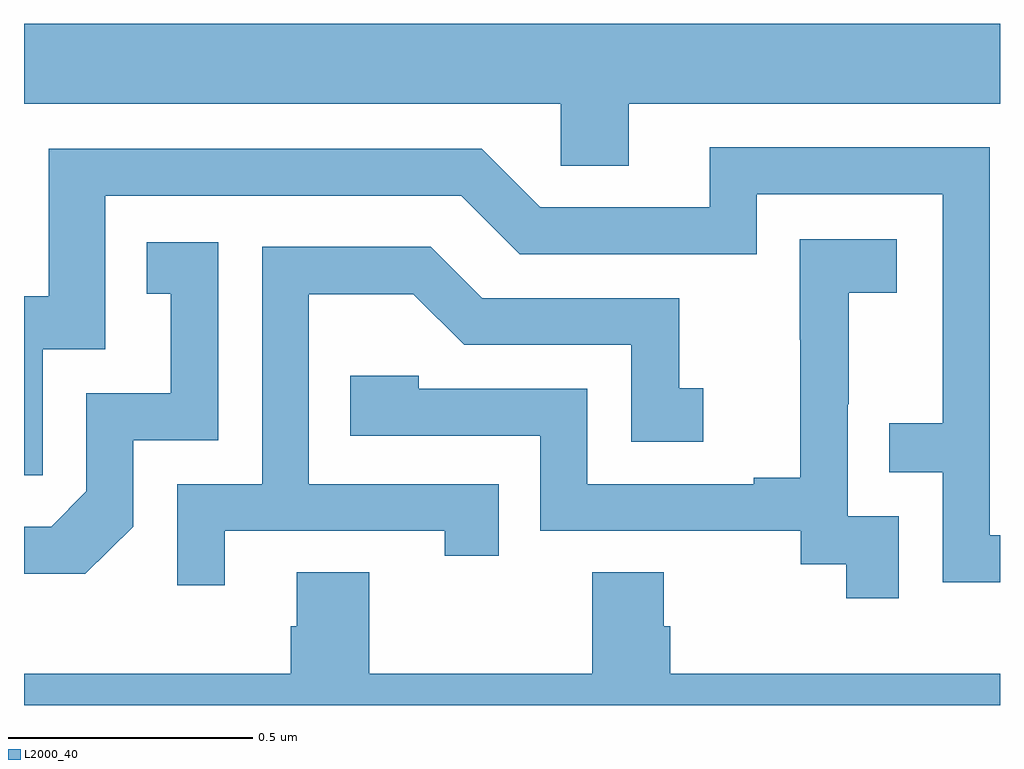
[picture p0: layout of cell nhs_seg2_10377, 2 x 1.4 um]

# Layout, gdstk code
import gdstk
lib = gdstk.Library(unit=1e-6, precision=1e-09)
def P(c, l, *ps):  # polygons
    for p in ps: c.add(gdstk.Polygon(p, *l))
L2000_40 = (2000, 40)

nhs_seg2_10377 = lib.new_cell('nhs_seg2_10377')
P(nhs_seg2_10377, L2000_40, [(242.239,585.032),(243,585.032),(243,585.196),(241,585.196),(241,585.032),(242.1,585.032),(242.1,584.905),(242.239,584.905)],
  [(243,584.148),(242.979,584.148),(242.979,584.943),(242.405,584.943),(242.405,584.82),(242.058,584.82),(241.938,584.94),(241.051,584.94),(241.051,584.638),(241,584.638),(241,584.271),(241.038,584.271),(241.038,584.529),(241.167,584.529),(241.167,584.844),(241.896,584.844),(242.016,584.724),(242.502,584.724),(242.502,584.847),(242.883,584.847),(242.883,584.378),(242.773,584.378),(242.773,584.277),(242.883,584.277),(242.883,584.052),(243,584.052)],
  [(242.793,584.187),(242.688,584.187),(242.688,584.417),(242.69,584.417),(242.69,584.645),(242.788,584.645),(242.788,584.755),(242.59,584.755),(242.59,584.549),(242.591,584.549),(242.591,584.266),(242.495,584.266),(242.495,584.253),(242.154,584.253),(242.154,584.448),(241.809,584.448),(241.809,584.475),(241.669,584.475),(241.669,584.352),(242.058,584.352),(242.058,584.157),(242.592,584.157),(242.592,584.089),(242.685,584.089),(242.685,584.019),(242.793,584.019)],
  [(241.224,584.166),(241.224,584.343),(241.398,584.343),(241.398,584.749),(241.252,584.749),(241.252,584.643),(241.301,584.643),(241.301,584.439),(241.128,584.439),(241.128,584.238),(241.056,584.166),(241,584.166),(241,584.069),(241.126,584.069)],
  [(241.411,584.157),(241.862,584.157),(241.862,584.106),(241.973,584.106),(241.973,584.253),(241.584,584.253),(241.584,584.642),(241.798,584.642),(241.902,584.538),(242.244,584.538),(242.244,584.34),(242.392,584.34),(242.392,584.449),(242.343,584.449),(242.343,584.634),(241.939,584.634),(241.834,584.739),(241.488,584.739),(241.488,584.253),(241.314,584.253),(241.314,584.046),(241.411,584.046)],
  [(242.324,583.962),(242.311,583.962),(242.311,584.072),(242.164,584.072),(242.164,583.864),(241.707,583.864),(241.707,584.072),(241.559,584.072),(241.559,583.962),(241.547,583.962),(241.547,583.864),(241,583.864),(241,583.8),(243,583.8),(243,583.864),(242.324,583.864)])

lib.write_gds('nhs_seg2_10377.gds')
